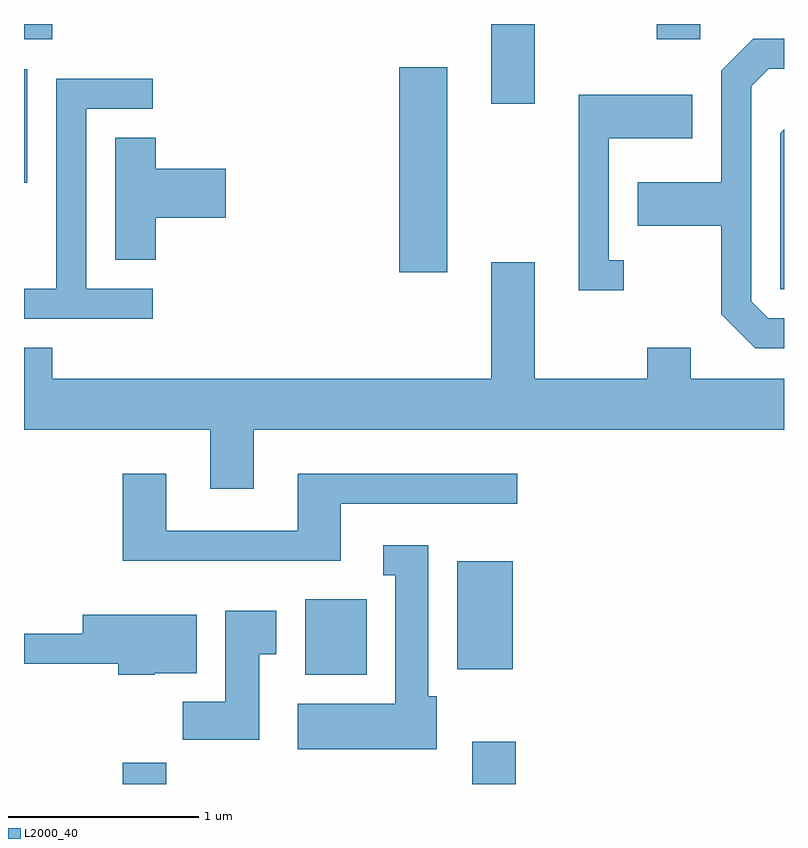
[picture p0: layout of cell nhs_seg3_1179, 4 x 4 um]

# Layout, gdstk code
import gdstk
lib = gdstk.Library(unit=1e-6, precision=1e-09)
def R(c, l, rs):  # rectangles x0, y0, x1, y1
    for r in rs: c.add(gdstk.rectangle(r[:2], r[2:], *l))
def P(c, l, *ps):  # polygons
    for p in ps: c.add(gdstk.Polygon(p, *l))
L2000_40 = (2000, 40)

nhs_seg3_1179 = lib.new_cell('nhs_seg3_1179')
R(nhs_seg3_1179, L2000_40, [(220.131,1161.892,220.359,1162.004), (221.971,1161.892,222.199,1162.114), (221.091,1162.466,221.414,1162.864), (221.891,1162.496,222.184,1163.064), (221.586,1164.586,221.839,1165.664), (219.611,1165.056,219.629,1165.654), (222.071,1165.471,222.299,1165.892), (219.611,1165.811,219.759,1165.892), (222.941,1165.811,223.169,1165.892)])
P(nhs_seg3_1179, L2000_40, [(223.611,1164.344),(223.527,1164.344),(223.439,1164.432),(223.439,1165.564),(223.532,1165.656),(223.611,1165.656),(223.611,1165.814),(223.449,1165.814),(223.281,1165.647),(223.281,1165.059),(222.841,1165.059),(222.841,1164.831),(223.281,1164.831),(223.281,1164.364),(223.459,1164.186),(223.611,1164.186)],
  [(220.288,1164.499),(219.939,1164.499),(219.939,1165.446),(220.288,1165.446),(220.288,1165.604),(219.781,1165.604),(219.781,1164.499),(219.611,1164.499),(219.611,1164.341),(220.288,1164.341)],
  [(222.768,1164.649),(222.689,1164.649),(222.689,1165.291),(223.129,1165.291),(223.129,1165.519),(222.531,1165.519),(222.531,1164.491),(222.768,1164.491)],
  [(223.611,1165.337),(223.591,1165.317),(223.591,1164.496),(223.611,1164.496)],
  [(220.304,1164.871),(220.674,1164.871),(220.674,1165.129),(220.304,1165.129),(220.304,1165.294),(220.091,1165.294),(220.091,1164.651),(220.304,1164.651)],
  [(220.819,1163.756),(223.611,1163.756),(223.611,1164.024),(223.119,1164.024),(223.119,1164.189),(222.891,1164.189),(222.891,1164.024),(222.299,1164.024),(222.299,1164.639),(222.071,1164.639),(222.071,1164.024),(219.759,1164.024),(219.759,1164.189),(219.611,1164.189),(219.611,1163.756),(220.591,1163.756),(220.591,1163.446),(220.819,1163.446)],
  [(221.279,1163.366),(222.208,1163.366),(222.208,1163.524),(221.051,1163.524),(221.051,1163.224),(220.359,1163.224),(220.359,1163.524),(220.131,1163.524),(220.131,1163.066),(221.279,1163.066)],
  [(221.784,1162.354),(221.739,1162.354),(221.739,1163.149),(221.503,1163.149),(221.503,1162.991),(221.566,1162.991),(221.566,1162.314),(221.051,1162.314),(221.051,1162.076),(221.784,1162.076)],
  [(220.849,1162.576),(220.939,1162.576),(220.939,1162.804),(220.671,1162.804),(220.671,1162.324),(220.446,1162.324),(220.446,1162.126),(220.849,1162.126)],
  [(220.3,1162.476),(220.519,1162.476),(220.519,1162.784),(219.921,1162.784),(219.921,1162.684),(219.611,1162.684),(219.611,1162.526),(220.106,1162.526),(220.106,1162.466),(220.3,1162.466)])

lib.write_gds('nhs_seg3_1179.gds')
